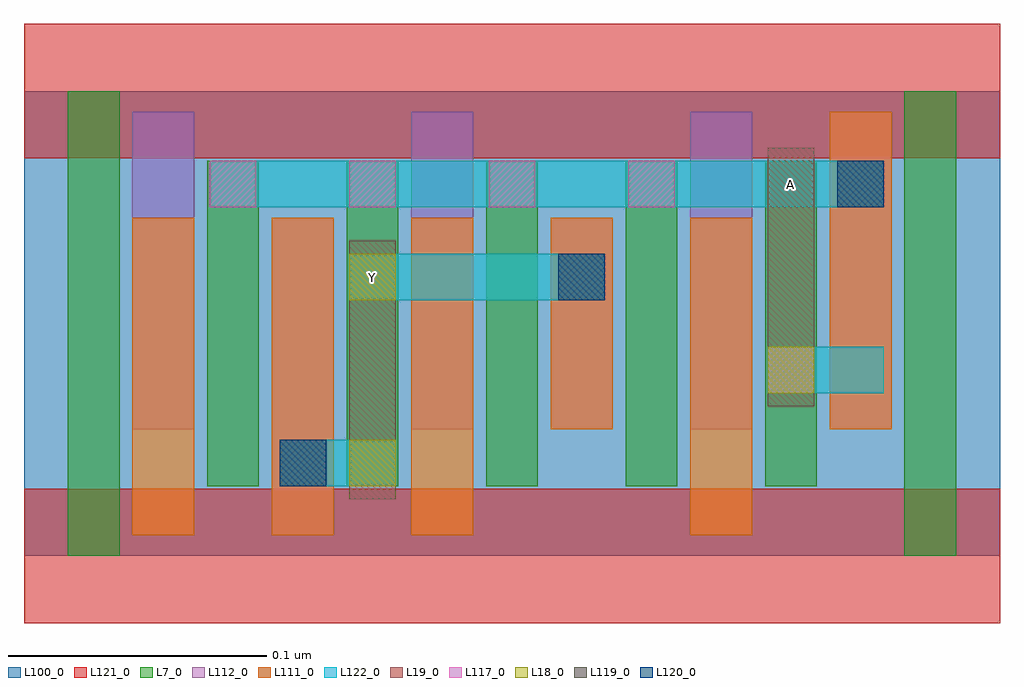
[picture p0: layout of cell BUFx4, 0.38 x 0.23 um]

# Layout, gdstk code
import gdstk
lib = gdstk.Library(unit=1e-6, precision=2.5e-10)
def R(c, l, rs):  # rectangles x0, y0, x1, y1
    for r in rs: c.add(gdstk.rectangle(r[:2], r[2:], *l))
def A(c, l, x, y, w, h, nx, ny, dx, dy):  # array of equal rectangles
    R(c, l, [(x+i*dx, y+j*dy, x+i*dx+w, y+j*dy+h) for i in range(nx) for j in range(ny)])
L7_0 = (7, 0)
L18_0 = (18, 0)
L19_0 = (19, 0)
L100_0 = (100, 0)
L111_0 = (111, 0)
L112_0 = (112, 0)
L117_0 = (117, 0)
L119_0 = (119, 0)
L120_0 = (120, 0)
L121_0 = (121, 0)
L122_0 = (122, 0)

bufx4 = lib.new_cell('BUFx4')
A(bufx4, L7_0, 0.071, 0.027, 0.02, 0.126, 5, 1, 0.054, 0)
R(bufx4, L7_0, [(0.017,0,0.037,0.18), (0.341,0,0.361,0.18)])
R(bufx4, L18_0, [(0.126,0.027,0.144,0.045), (0.288,0.063,0.306,0.081), (0.126,0.099,0.144,0.117)])
R(bufx4, L19_0, [(0.126,0.022,0.144,0.122), (0.288,0.058,0.306,0.158)])
R(bufx4, L100_0, [(0,0,0.378,0.18)])
A(bufx4, L111_0, 0.042, 0.008, 0.024, 0.123, 3, 1, 0.054, 0)
R(bufx4, L111_0, [(0.258,0.008,0.282,0.131), (0.204,0.049,0.228,0.131), (0.312,0.049,0.336,0.172)])
A(bufx4, L112_0, 0.042, 0.049, 0.024, 0.123, 3, 1, 0.108, 0)
R(bufx4, L112_0, [(0.096,0.008,0.12,0.131), (0.204,0.049,0.228,0.131), (0.312,0.049,0.336,0.172)])
A(bufx4, L117_0, 0.072, 0.135, 0.018, 0.018, 4, 1, 0.054, 0)
R(bufx4, L117_0, [(0.288,0.063,0.306,0.081)])
R(bufx4, L119_0, [(0.099,0.027,0.117,0.045), (0.207,0.099,0.225,0.117), (0.315,0.135,0.333,0.153)])
R(bufx4, L120_0, [(0.099,0.027,0.117,0.045), (0.207,0.099,0.225,0.117), (0.315,0.135,0.333,0.153)])
R(bufx4, L121_0, [(0,-0.026,0.378,0.026), (0,0.154,0.378,0.206)])
R(bufx4, L122_0, [(0.099,0.027,0.144,0.045), (0.288,0.063,0.333,0.081), (0.126,0.099,0.225,0.117), (0.072,0.135,0.333,0.153)])
bufx4.add(gdstk.Label('Y', (0.135,0.108), layer=19, texttype=251))
bufx4.add(gdstk.Label('A', (0.297,0.144), layer=19, texttype=251))

lib.write_gds('BUFx4.gds')
